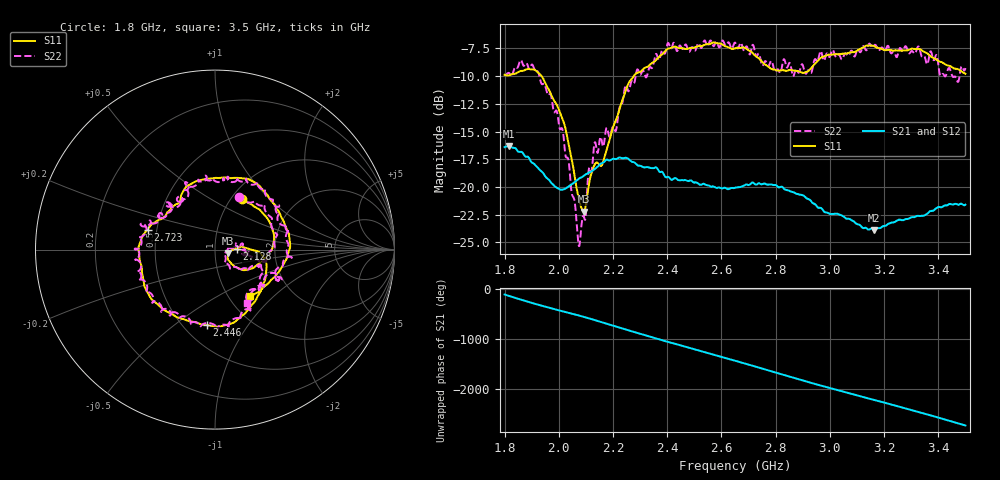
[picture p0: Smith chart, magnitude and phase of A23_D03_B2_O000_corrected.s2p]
! Created with skrf 1.9.0 (http://scikit-rf.org).
# Hz S RI R 50.0
!freq ReS11 ImS11 ReS21 ImS21 ReS12 ImS12 ReS22 ImS22
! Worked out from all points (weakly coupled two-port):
!   1601 points, 1.8 GHz to 3.5 GHz, reference 50 ohm
!   highest |S21| = -16.32 dB at 1.817 GHz (marker M1); lowest = -23.9 dB at 3.163 GHz (marker M2)
!   lowest |S11| = -22.2 dB at 2.092 GHz (marker M3), VSWR 1.17, Z = 58 - j2.48 ohm
!   |S11| at or under -10 dB: 1.937 GHz to 2.276 GHz (339.9 MHz wide, 16.1 % of centre)
!   |S22| runs from -25.4 to -6.8 dB; largest |S21 - S12| = 0.0027
!   S11 on the Smith chart (normalised r, x): 1.8 GHz: 1.12, +0.71; 2.128 GHz: 1.28, +0.01; 2.446 GHz: 0.65, -0.66; 2.723 GHz: 0.44, +0.12; 3.5 GHz: 1.26, -0.72
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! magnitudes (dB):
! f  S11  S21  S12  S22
! 1.8 GHz  -9.9  -16.4  -16.4  -9.9
! 1.817 GHz  -9.9  -16.3  -16.3  -9.7
! 1.903 GHz  -9.4  -17.8  -17.8  -9.0
! 1.968 GHz  -11.5  -19.5  -19.5  -11.6
! 2.015 GHz  -13.9  -20.2  -20.3  -15.0
! 2.072 GHz  -20.9  -19.3  -19.3  -25.1
! 2.084 GHz  -21.9  -19.1  -19.1  -23.4
! 2.092 GHz  -22.2  -19.0  -19.1  -22.7
! 2.128 GHz  -18.2  -18.5  -18.5  -16.7
! 2.162 GHz  -17.8  -17.8  -17.8  -16.3
! 2.26 GHz  -10.5  -17.6  -17.5  -11.2
! 2.367 GHz  -8.3  -18.5  -18.5  -8.5
! 2.446 GHz  -7.5  -19.4  -19.4  -7.2
! 2.65 GHz  -7.5  -20.1  -20.1  -7.0
! 2.723 GHz  -8.1  -19.7  -19.7  -7.8
! 2.803 GHz  -9.5  -19.9  -19.9  -9.5
! 2.934 GHz  -9.2  -21.4  -21.4  -9.6
! 3.163 GHz  -7.3  -23.9  -23.9  -7.2
! 3.217 GHz  -7.6  -23.3  -23.3  -7.4
! 3.327 GHz  -7.5  -22.6  -22.6  -7.3
! 3.468 GHz  -9.3  -21.6  -21.6  -10.3
! 3.5 GHz  -9.8  -21.6  -21.6  -9.3
